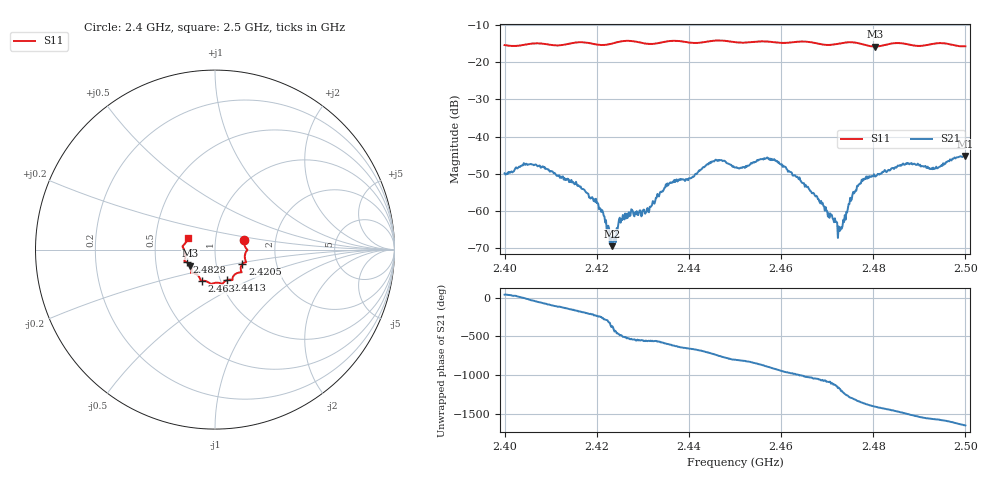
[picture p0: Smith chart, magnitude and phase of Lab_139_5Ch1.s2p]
# Hz S RI R 50
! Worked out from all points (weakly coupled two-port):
!   601 points, 2.4 GHz to 2.5 GHz, reference 50 ohm
!   highest |S21| = -45.19 dB at 2.5 GHz (marker M1); lowest = -69.5 dB at 2.4233 GHz (marker M2)
!   lowest |S11| = -15.7 dB at 2.4803 GHz (marker M3), VSWR 1.39, Z = 37.4 - j6.85 ohm
!   |S11| at or under -10 dB: start of sweep to end of sweep
!   S12 and S22 are empty: the file has one direction only
!   S11 on the Smith chart (normalised r, x): 2.4 GHz: 1.38, +0.15; 2.4205 GHz: 1.34, -0.22; 2.4413 GHz: 1.08, -0.38; 2.463 GHz: 0.82, -0.29; 2.4828 GHz: 0.72, -0.10; 2.5 GHz: 0.73, +0.10
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2.4e9  0.1628 0.0523  0.00258 0.0019  0 0  0 0
2.406333e9  0.1801 0.000485  0.00307 -0.00275  0 0  0 0
2.416667e9  0.1734 -0.0697  -0.00199 0.000138  0 0  0 0
2.4205e9  0.1522 -0.081  -0.000465 0.000938  0 0  0 0
2.423333e9  0.1433 -0.1083  0.000331 -4.61e-05  0 0  0 0
2.425333e9  0.147 -0.1234  -0.000435 -0.000634  0 0  0 0
2.431e9  0.118 -0.1332  -0.00101 0.000403  0 0  0 0
2.433333e9  0.1005 -0.1514  -0.00146 0.000687  0 0  0 0
2.441333e9  0.0676 -0.1698  0.00192 0.00245  0 0  0 0
2.4455e9  0.0425 -0.1914  0.00457 -0.000779  0 0  0 0
2.45e9  0.0247 -0.1857  0.000707 -0.00375  0 0  0 0
2.457167e9  -0.0261 -0.1887  -0.00502 -0.00068  0 0  0 0
2.463e9  -0.0722 -0.1736  -0.000449 0.00298  0 0  0 0
2.466667e9  -0.0816 -0.1673  0.00111 0.00132  0 0  0 0
2.472833e9  -0.1252 -0.1301  -9.07e-05 -0.000536  0 0  0 0
2.477e9  -0.1314 -0.123  -0.000544 0.00222  0 0  0 0
2.480333e9  -0.1371 -0.0891  0.00237 0.0017  0 0  0 0
2.482833e9  -0.1585 -0.0701  0.00331 0.000319  0 0  0 0
2.483333e9  -0.1624 -0.0683  0.00357 -1.54e-05  0 0  0 0
2.487667e9  -0.1668 -0.0507  0.00214 -0.00378  0 0  0 0
2.493667e9  -0.18 0.0134  -0.00245 -0.00308  0 0  0 0
2.5e9  -0.1521 0.0637  -0.00494 0.00242  0 0  0 0
